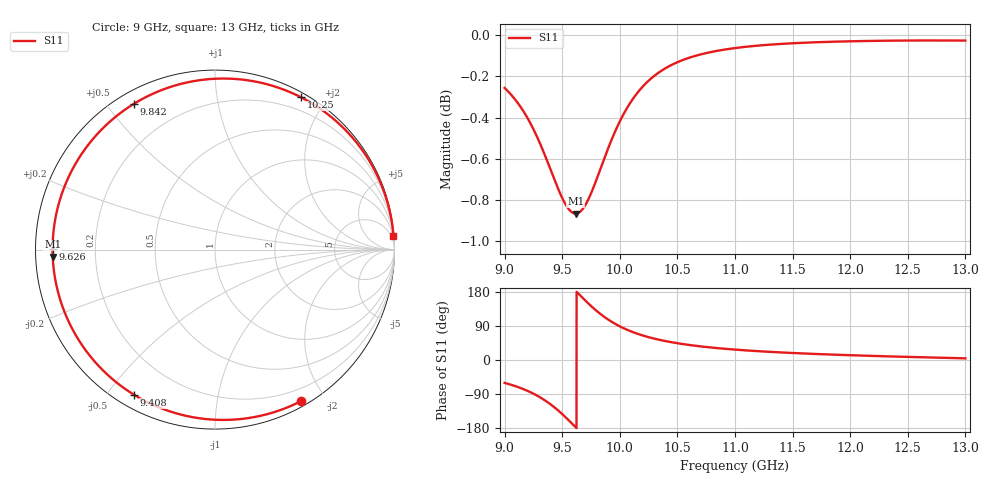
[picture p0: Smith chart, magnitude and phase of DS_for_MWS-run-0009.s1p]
! TOUCHSTONE file generated by CST DESIGN STUDIO
! Date and time: Wed Feb  5 13:42:27 2025
! Project name: C:\Work\MatlabApps\UnitCellOptimizationMatlab\CST\unitcell.cst
! Tree item: Tasks\Sweep1\SPara1\S-Parameters
! Header version: 2024
! Port assignment regex: !\s*Touchstone port\s*([0-9]+)\s*=\s*(CST MWS port|CST DES external port|CST DES block port)\s*(.+)\s* \(\"(.*)\"\)(\s*mode\s*([0-9]+))?.*
! Touchstone port assignment:
! Touchstone port 1 = CST DES external port 1 ("")
# GHz S MA R 50
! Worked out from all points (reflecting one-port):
!   4001 points, 9 GHz to 13 GHz, reference 50 ohm
!   lowest |S11| = -0.9 dB at 9.617 GHz (marker M1), VSWR 20.05, Z = 2.49 - j1.07 ohm
!   phase of S11 starts at -60 deg and turns -295 deg over the sweep
!   S11 on the Smith chart (normalised r, x): 9 GHz: 0.06, -1.72; 9.408 GHz: 0.05, -0.59; 9.626 GHz: 0.05, +0.00; 9.842 GHz: 0.05, +0.59; 10.25 GHz: 0.05, +1.71; 13 GHz: 1, +26
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9  0.9709 -60.4
9.055  0.9674 -65.2
9.128  0.9616 -72.7
9.191  0.9556 -80.4
9.253  0.9484 -89.3
9.336  0.9371 -103.8
9.408  0.9262 -119.1
9.454  0.9192 -130.3
9.5  0.9129 -142.6
9.561  0.907 -160.3
9.617  0.905 -177.5
9.626  0.9051 179.7
9.671  0.9068 165.8
9.718  0.9112 151.7
9.78  0.9196 134.4
9.842  0.9296 119.0
9.915  0.9412 103.5
10  0.9529 88.8
10.117  0.9653 73.2
10.246  0.9747 60.6
10.364  0.9804 51.9
10.5  0.985 44.3
10.72  0.9896 35.3
11  0.9929 27.4
11.5  0.9955 18.5
12  0.9966 12.6
12.5  0.9971 8.2
13  0.997 4.4
